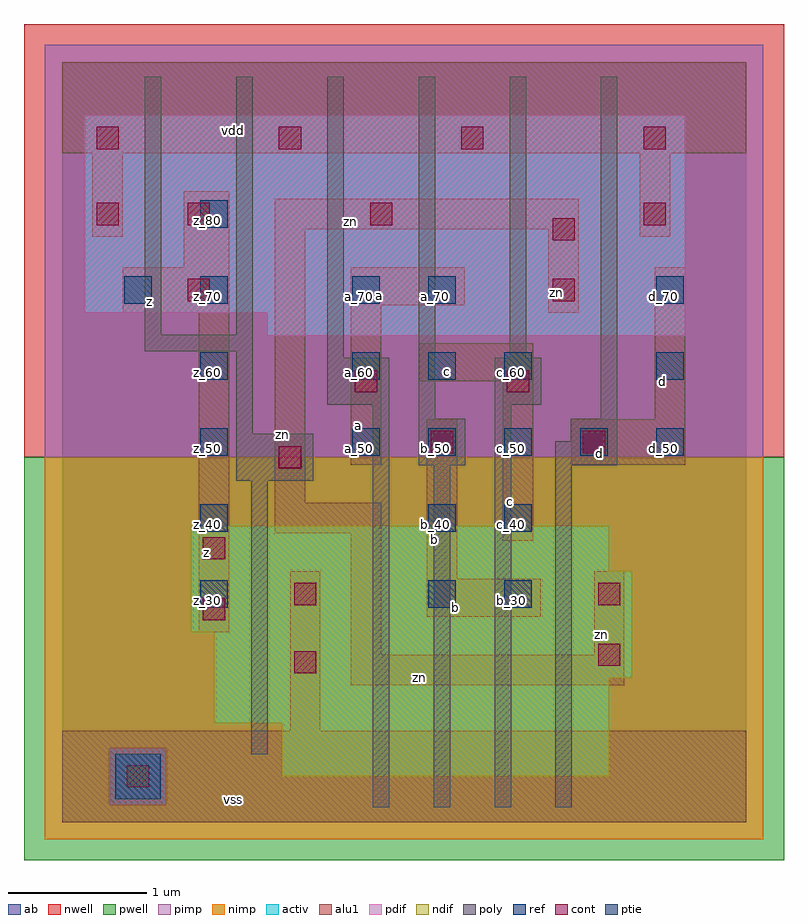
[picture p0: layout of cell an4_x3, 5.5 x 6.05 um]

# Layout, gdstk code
import gdstk
lib = gdstk.Library(unit=1e-6, precision=2.5e-09)
def R(c, l, rs):  # rectangles x0, y0, x1, y1
    for r in rs: c.add(gdstk.rectangle(r[:2], r[2:], *l))
def A(c, l, x, y, w, h, nx, ny, dx, dy):  # array of equal rectangles
    R(c, l, [(x+i*dx, y+j*dy, x+i*dx+w, y+j*dy+h) for i in range(nx) for j in range(ny)])
ndif = (3, 0)
pdif = (4, 0)
ptie = (6, 0)
ref = (24, 0)
cont = (25, 0)
pwell = (41, 0)
nwell = (42, 0)
activ = (43, 0)
pimp = (44, 0)
nimp = (45, 0)
poly = (46, 0)
alu1 = (49, 0)
ab = (63, 0)

an4_x3 = lib.new_cell('an4_x3')
R(an4_x3, ndif, [(1.595,0.33,3.96,0.715), (1.1,0.715,3.96,1.045), (1.1,1.045,4.125,1.375), (0.935,1.375,4.125,1.815), (0.935,1.815,3.96,2.145)])
R(an4_x3, pdif, [(1.485,3.52,4.51,3.685), (0.165,3.685,4.51,5.115)])
R(an4_x3, ptie, [(0.385,0.165,0.715,0.495)])
A(an4_x3, ref, 1, 1.55, 0.2, 0.2, 1, 6, 0, 0.55)
A(an4_x3, ref, 2.1, 2.65, 0.2, 0.2, 5, 1, 0.55, 0)
A(an4_x3, ref, 2.1, 3.2, 0.2, 0.2, 3, 1, 0.55, 0)
R(an4_x3, ref, [(2.65,1.55,2.85,1.75), (3.2,1.55,3.4,1.75), (2.65,2.1,2.85,2.3), (3.2,2.1,3.4,2.3), (3.2,3.2,3.4,3.4), (4.3,3.2,4.5,3.4), (0.45,3.75,0.65,3.95), (2.1,3.75,2.3,3.95), (2.65,3.75,2.85,3.95), (4.3,3.75,4.5,3.95)])
A(an4_x3, cont, 0.25, 4.87, 0.16, 0.16, 4, 1, 1.32, 0)
R(an4_x3, cont, [(0.47,0.25,0.63,0.41), (1.68,1.075,1.84,1.235), (3.88,1.13,4.04,1.29), (1.02,1.46,1.18,1.62), (1.68,1.57,1.84,1.73), (3.88,1.57,4.04,1.73), (1.02,1.9,1.18,2.06), (1.57,2.56,1.73,2.72), (2.67,2.67,2.83,2.83), (3.77,2.67,3.93,2.83), (2.12,3.11,2.28,3.27), (3.22,3.11,3.38,3.27), (0.91,3.77,1.07,3.93), (3.55,3.77,3.71,3.93), (3.55,4.21,3.71,4.37), (0.25,4.32,0.41,4.48), (0.91,4.32,1.07,4.48), (2.23,4.32,2.39,4.48), (4.21,4.32,4.37,4.48)])
R(an4_x3, pwell, [(-0.275,-0.275,5.225,2.64)])
R(an4_x3, nwell, [(-0.275,2.64,5.225,5.775)])
R(an4_x3, activ, [(0.385,0.165,0.715,0.495), (1.595,0.33,3.96,0.715), (1.1,0.715,3.96,1.045), (1.1,1.045,4.125,1.375), (0.935,1.375,4.125,1.815), (0.935,1.815,3.96,2.145), (1.485,3.52,4.51,3.685), (0.165,3.685,4.51,5.115)])
R(an4_x3, pimp, [(0.345,0.125,0.755,0.535), (-0.125,2.64,5.075,5.625)])
R(an4_x3, nimp, [(-0.125,-0.125,5.075,0.125), (-0.125,0.125,0.345,0.535), (0.755,0.125,5.075,0.535), (-0.125,0.535,5.075,2.64)])
R(an4_x3, poly, [(2.25,0.105,2.37,3.02), (2.69,0.105,2.81,2.58), (3.13,0.105,3.25,3.02), (3.57,0.105,3.69,2.58), (1.37,0.49,1.49,2.47), (1.26,2.47,1.82,2.81), (2.58,2.58,2.92,2.92), (3.57,2.58,4.02,2.755), (3.68,2.755,4.02,2.92), (1.26,2.81,1.38,3.405), (2.58,2.92,2.7,5.395), (3.9,2.92,4.02,5.395), (1.92,3.02,2.37,3.36), (3.13,3.02,3.47,3.36), (1.92,3.36,2.04,5.395), (3.24,3.36,3.36,5.395), (0.6,3.405,1.38,3.525), (0.6,3.525,0.72,5.395), (1.26,3.525,1.38,5.395)])
R(an4_x3, alu1, [(0,0,4.95,0.66), (1.65,0.66,1.87,1.815), (2.09,0.99,4.07,1.21), (2.09,1.21,2.31,2.09), (3.85,1.21,4.07,1.815), (0.99,1.375,1.21,3.685), (2.64,1.485,3.465,1.76), (2.64,1.76,2.86,2.915), (3.19,2.035,3.41,3.19), (1.54,2.09,2.31,2.31), (1.54,2.31,1.76,4.29), (2.09,2.585,2.31,3.74), (3.685,2.585,4.51,2.915), (4.29,2.915,4.51,4.015), (2.585,3.19,3.41,3.465), (0.44,3.685,1.21,4.015), (3.52,3.685,3.74,4.29), (2.09,3.74,2.915,4.015), (0.88,4.015,1.21,4.565), (0.22,4.235,0.44,4.84), (4.18,4.235,4.4,4.84), (1.54,4.29,3.74,4.51), (0,4.84,4.95,5.5)])
R(an4_x3, ab, [(0,0,4.95,5.5)])
an4_x3.add(gdstk.Label('vss', (1.2375,0.165), layer=49, texttype=0))
an4_x3.add(gdstk.Label('zn', (2.585,1.045), layer=49, texttype=0))
an4_x3.add(gdstk.Label('zn', (3.905,1.36), layer=49, texttype=0))
an4_x3.add(gdstk.Label('b', (2.845,1.5525), layer=49, texttype=0))
an4_x3.add(gdstk.Label('d', (3.89,2.6675), layer=49, texttype=0))
an4_x3.add(gdstk.Label('d', (4.345,3.19), layer=49, texttype=0))
an4_x3.add(gdstk.Label('c', (3.245,2.3225), layer=49, texttype=0))
an4_x3.add(gdstk.Label('b', (2.695,2.0475), layer=49, texttype=0))
an4_x3.add(gdstk.Label('c', (2.79,3.2575), layer=49, texttype=0))
an4_x3.add(gdstk.Label('zn', (3.575,3.835), layer=49, texttype=0))
an4_x3.add(gdstk.Label('a', (2.145,2.8725), layer=49, texttype=0))
an4_x3.add(gdstk.Label('a', (2.295,3.8075), layer=49, texttype=0))
an4_x3.add(gdstk.Label('zn', (1.595,2.805), layer=49, texttype=0))
an4_x3.add(gdstk.Label('zn', (2.09,4.345), layer=49, texttype=0))
an4_x3.add(gdstk.Label('z', (1.045,1.9525), layer=49, texttype=0))
an4_x3.add(gdstk.Label('z', (0.6325,3.7675), layer=49, texttype=0))
an4_x3.add(gdstk.Label('vdd', (1.2375,5.005), layer=49, texttype=0))
an4_x3.add(gdstk.Label('z_60', (1.05,3.25), layer=24, texttype=0))
an4_x3.add(gdstk.Label('z_50', (1.05,2.7), layer=24, texttype=0))
an4_x3.add(gdstk.Label('z_40', (1.05,2.15), layer=24, texttype=0))
an4_x3.add(gdstk.Label('z_30', (1.05,1.6), layer=24, texttype=0))
an4_x3.add(gdstk.Label('z_80', (1.05,4.35), layer=24, texttype=0))
an4_x3.add(gdstk.Label('z_70', (1.05,3.8), layer=24, texttype=0))
an4_x3.add(gdstk.Label('a_50', (2.15,2.7), layer=24, texttype=0))
an4_x3.add(gdstk.Label('b_50', (2.7,2.7), layer=24, texttype=0))
an4_x3.add(gdstk.Label('b_40', (2.7,2.15), layer=24, texttype=0))
an4_x3.add(gdstk.Label('b_30', (2.7,1.6), layer=24, texttype=0))
an4_x3.add(gdstk.Label('c_40', (3.25,2.15), layer=24, texttype=0))
an4_x3.add(gdstk.Label('b_30', (3.25,1.6), layer=24, texttype=0))
an4_x3.add(gdstk.Label('a_60', (2.15,3.25), layer=24, texttype=0))
an4_x3.add(gdstk.Label('a_70', (2.15,3.8), layer=24, texttype=0))
an4_x3.add(gdstk.Label('a_70', (2.7,3.8), layer=24, texttype=0))
an4_x3.add(gdstk.Label('c_60', (2.7,3.25), layer=24, texttype=0))
an4_x3.add(gdstk.Label('c_60', (3.25,3.25), layer=24, texttype=0))
an4_x3.add(gdstk.Label('c_50', (3.25,2.7), layer=24, texttype=0))
an4_x3.add(gdstk.Label('d_50', (3.8,2.7), layer=24, texttype=0))
an4_x3.add(gdstk.Label('z_70', (0.5,3.8), layer=24, texttype=0))
an4_x3.add(gdstk.Label('d_60', (4.35,3.25), layer=24, texttype=0))
an4_x3.add(gdstk.Label('d_70', (4.35,3.8), layer=24, texttype=0))
an4_x3.add(gdstk.Label('d_50', (4.35,2.7), layer=24, texttype=0))

lib.write_gds('an4_x3.gds')
